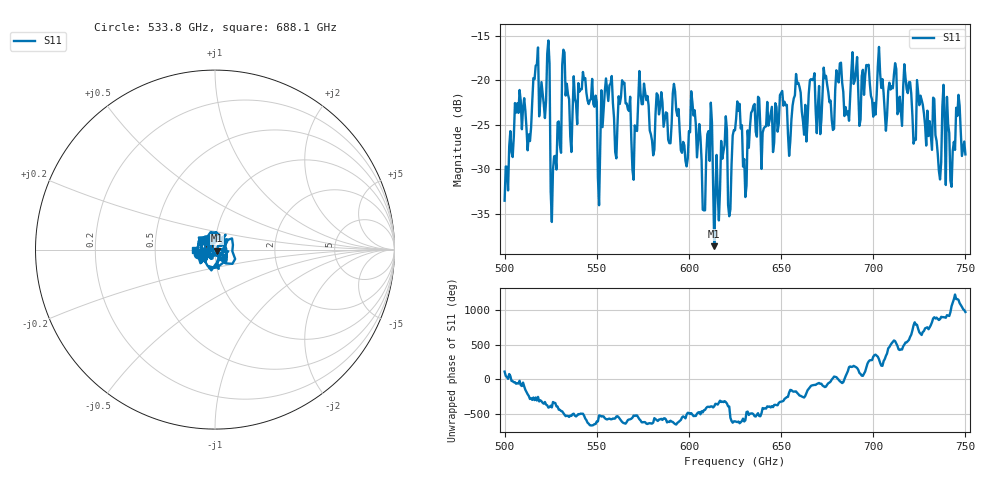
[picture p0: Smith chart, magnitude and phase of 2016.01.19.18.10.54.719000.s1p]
!Created with skrf (http://scikit-rf.org).
# GHz S RI R 50.0
!freq ReS11 ImS11
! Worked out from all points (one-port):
!   401 points, 500 GHz to 750 GHz, reference 50 ohm
!   lowest |S11| = -38.7 dB at 613.8 GHz (marker M1), VSWR 1.02, Z = 51 - j0.563 ohm
!   |S11| at or under -10 dB: start of sweep to end of sweep
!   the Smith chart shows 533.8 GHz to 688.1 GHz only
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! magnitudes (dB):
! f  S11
! 500 GHz  -33.5
! 506.9 GHz  -22.6
! 513.1 GHz  -26.1
! 516.9 GHz  -18.4
! 523.1 GHz  -17.0
! 526.2 GHz  -30.1
! 531.2 GHz  -18.3
! 548.8 GHz  -23.0
! 551.9 GHz  -27.3
! 555.6 GHz  -21.1
! 562.5 GHz  -22.7
! 570 GHz  -31.2
! 574.4 GHz  -22.7
! 580 GHz  -26.8
! 593.8 GHz  -24.0
! 602.5 GHz  -24.0
! 608.1 GHz  -34.6
! 611.2 GHz  -29.1
! 613.8 GHz  -38.7
! 619.4 GHz  -27.3
! 622.5 GHz  -34.5
! 625 GHz  -25.6
! 630.6 GHz  -33.1
! 634.4 GHz  -23.5
! 656.2 GHz  -22.8
! 687.5 GHz  -21.9
! 718.8 GHz  -21.5
! 750 GHz  -28.3
